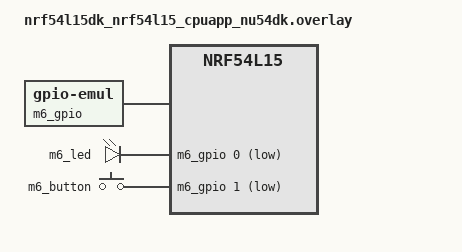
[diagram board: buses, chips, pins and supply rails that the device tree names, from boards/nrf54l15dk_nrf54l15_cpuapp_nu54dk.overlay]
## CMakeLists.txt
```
# SPDX-License-Identifier: MIT

cmake_minimum_required(VERSION 3.20.0)

find_package(Zephyr REQUIRED HINTS $ENV{ZEPHYR_BASE})
project(nucode_m6_core_api)

target_sources(app PRIVATE
  src/c_header_contract.c
  src/main.cpp
)
```

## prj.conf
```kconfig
CONFIG_ZTEST=y
CONFIG_CPP=y
CONFIG_STD_CPP17=y
CONFIG_CPP_EXCEPTIONS=n
CONFIG_CPP_RTTI=n

CONFIG_NUCODE_ARDUINO_CORE=y
CONFIG_NUCODE_ARDUINO_RUNTIME=n
CONFIG_NUCODE_ARDUINO_API=y
CONFIG_NUCODE_ARDUINO_GPIO=y
CONFIG_NUCODE_ARDUINO_INTERRUPTS=y
CONFIG_NUCODE_ARDUINO_TIME=y
CONFIG_NUCODE_ARDUINO_SERIAL=y
CONFIG_NUCODE_ARDUINO_SERIAL_RX_BUFFER_SIZE=128

CONFIG_EMUL=y
CONFIG_GPIO_EMUL=y
CONFIG_UART_EMUL=y
CONFIG_IRQ_OFFLOAD=y
CONFIG_COMMON_LIBC_MALLOC_ARENA_SIZE=8192
CONFIG_MAIN_STACK_SIZE=8192
CONFIG_TEST_EXTRA_STACK_SIZE=1024
```

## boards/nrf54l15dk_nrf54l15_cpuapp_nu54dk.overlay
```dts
/**
 * SPDX-License-Identifier: MIT
 */

/ {
	chosen {
		nucode,arduino-serial = &m6_uart;
	};

	aliases {
		led0 = &m6_led;
		sw0 = &m6_button;
	};

	m6_gpio: m6-gpio {
		compatible = "zephyr,gpio-emul";
		status = "okay";
		gpio-controller;
		#gpio-cells = <2>;
		ngpios = <2>;
		rising-edge;
		falling-edge;
	};

	m6-leds {
		compatible = "gpio-leds";

		m6_led: led-0 {
			gpios = <&m6_gpio 0 GPIO_ACTIVE_LOW>;
		};
	};

	m6-buttons {
		compatible = "gpio-keys";

		m6_button: button-0 {
			gpios = <&m6_gpio 1 (GPIO_ACTIVE_LOW | GPIO_PULL_UP)>;
		};
	};

	m6_uart: m6-uart {
		compatible = "zephyr,uart-emul";
		status = "okay";
		current-speed = <115200>;
		rx-fifo-size = <256>;
		tx-fifo-size = <256>;
	};
};
#include <nucode/nu54dk-arduino-pins.dtsi>
```

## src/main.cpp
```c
/**
 * @file main.cpp
 * @brief M6 공통 API, Serial과 GPIO interrupt 계약을 자동 검증합니다.
 *
 * SPDX-License-Identifier: MIT
 */

#include <Arduino.h>

#include <zephyr/device.h>
#include <zephyr/drivers/gpio/gpio_emul.h>
#include <zephyr/drivers/uart.h>
#include <zephyr/drivers/serial/uart_emul.h>
#include <zephyr/irq_offload.h>
#include <zephyr/kernel.h>
#include <zephyr/sys/atomic.h>
#include <zephyr/ztest.h>

#include <stdint.h>
#include <string.h>

#include "internal/SerialBackend.h"
#include "internal/pin_description.h"

extern "C" int nucode_m6_c_header_contract(void);

namespace
{
    using nucode::arduino::internal::clearSerialDiagnostics;
    using nucode::arduino::internal::GpioError;
    using nucode::arduino::internal::lastGpioError;
    using nucode::arduino::internal::lastSerialError;
    using nucode::arduino::internal::serialDroppedRxBytes;
    using nucode::arduino::internal::SerialError;

    template <typename Left, typename Right> inline constexpr bool same_type = false;

    template <typename Value> inline constexpr bool same_type<Value, Value> = true;

    static_assert(same_type<String, arduino::String>);
    static_assert(same_type<Print, arduino::Print>);
    static_assert(same_type<Stream, arduino::Stream>);
    static_assert(same_type<HardwareSerial, arduino::HardwareSerial>);

    /** @brief M6 GPIO emulator 장치입니다. */
    const struct device *const test_gpio = DEVICE_DT_GET(DT_NODELABEL(m6_gpio));

    /** @brief M6 Serial 전용 UART emulator 장치입니다. */
    const struct device *const test_uart = DEVICE_DT_GET(DT_NODELABEL(m6_uart));

    /** @brief Print 출력을 고정 배열에 수집합니다. */
    class CapturePrint final : public Print
    {
      public:
        using Print::write;

        /** @brief 한 byte를 수집합니다. */
        size_t write(uint8_t value) override
        {
            if (length_ >= (sizeof(data_) - 1U))
            {
                setWriteError();
                return 0U;
            }
            data_[length_++] = static_cast<char>(value);
            data_[length_] = '\0';
            return 1U;
        }

        /** @brief 수집한 C 문자열을 반환합니다. */
        const char *data() const noexcept
        {
            return data_;
        }

      private:
        char data_[256] = {};
        size_t length_ = 0U;
    };

    /** @brief 지정한 byte 수 뒤 실패하는 Print 구현입니다. */
    class PartialPrint final : public Print
    {
      public:
        using Print::write;

        /** @brief 성공시킬 최대 byte 수를 지정합니다. */
        explicit PartialPrint(size_t limit) : limit_(limit)
        {
        }

        /** @brief 한 byte를 한도 안에서만 수락합니다. */
        size_t write(uint8_t value) override
        {
            ARG_UNUSED(value);
            if (written_ >= limit_)
            {
                setWriteError();
                return 0U;
            }

            ++written_;
            return 1U;
        }

      private:
        size_t limit_;
        size_t written_ = 0U;
    };

    /** @brief Printable 객체가 Print에 위임하는 byte 수와 호출 횟수를 기록합니다. */
    class PrintableToken final : public Printable
    {
      public:
        /** @brief 고정 문자열과 숫자를 전달받은 Print 구현에 기록합니다. */
        size_t printTo(Print &output) const override
        {
            ++invocation_count_;
            size_t written = output.print("NU54:");
            written += output.print(42U, HEX);
            return written;
        }

        /** @brief printTo가 호출된 누적 횟수를 반환합니다. */
        unsigned int invocationCount() const noexcept
        {
            return invocation_count_;
        }

      private:
        mutable unsigned int invocation_count_ = 0U;
    };

    /** @brief Stream 입력과 출력을 고정 배열로 모사합니다. */
    class MemoryStream final : public Stream
    {
      public:
        using Print::write;

        /** @brief 시험 입력 문자열을 선택합니다. */
        explicit MemoryStream(const char *input) : input_(input), length_(strlen(input))
        {
        }

        /** @brief 남은 입력 byte 수를 반환합니다. */
        int available() override
        {
            return static_cast<int>(length_ - cursor_);
        }

        /** @brief 다음 byte를 소비합니다. */
        int read() override
        {
            return (cursor_ < length_) ? static_cast<unsigned char>(input_[cursor_++]) : -1;
        }

        /** @brief 다음 byte를 소비하지 않고 반환합니다. */
        int peek() override
        {
            return (cursor_ < length_) ? static_cast<unsigned char>(input_[cursor_]) : -1;
        }

        /** @brief 시험 Stream에는 비동기 출력이 없으므로 아무 작업도 하지 않습니다. */
        void flush() override
        {
        }

        /** @brief 한 출력 byte를 버리고 성공을 반환합니다. */
        size_t write(uint8_t value) override
        {
            ARG_UNUSED(value);
            return 1U;
        }

      private:
        const char *input_;
        size_t length_;
        size_t cursor_ = 0U;
    };

    atomic_t simple_interrupt_count;
    atomic_t parameter_interrupt_count;
    atomic_t sentinel_uart_irq_count;
    volatile size_t isr_serial_write_result;

    /** @brief 단순 GPIO callback 실행 횟수를 증가시킵니다. */
    void simpleInterruptCallback()
    {
        atomic_inc(&simple_interrupt_count);
    }

    /** @brief 매개변수 GPIO callback 실행 횟수를 증가시킵니다. */
    void parameterInterruptCallback(void *parameter)
    {
        auto *counter = static_cast<atomic_t *>(parameter);
        atomic_inc(counter);
    }

    /** @brief 미시작 end() 보존 시험용 UART callback입니다. */
    void sentinelUartCallback(const struct device *device, void *user_data)
    {
        ARG_UNUSED(user_data);
        static_cast<void>(uart_irq_update(device));
        if (uart_irq_rx_ready(device) != 0)
        {
            uint8_t value = 0U;
            static_cast<void>(uart_fifo_read(device, &value, 1));
            atomic_inc(&sentinel_uart_irq_count);
        }
    }

    /** @brief IRQ 문맥에서 금지된 Serial write를 호출합니다. */
    void serialWriteFromIsr(const void *parameter)
    {
        ARG_UNUSED(parameter);
        isr_serial_write_result = Serial.write(static_cast<uint8_t>('X'));
    }

    /** @brief UART emulator RX가 Serial queue로 이동할 때까지 기다립니다. */
    bool waitForSerialBytes(int expected)
    {
        for (int attempt = 0; attempt < 100; ++attempt)
        {
            if (Serial.available() >= expected)
            {
                return true;
            }
            k_sleep(K_MSEC(1));
        }
        return false;
    }

    /** @brief 각 Serial 시험 전에 backend와 UART emulator를 초기화합니다. */
    void serialBefore(void *)
    {
        Serial.end();
        clearSerialDiagnostics();
        uart_emul_flush_rx_data(test_uart);
        uart_emul_flush_tx_data(test_uart);

        /**
		 * 실제 production Serial은 Zephyr 소유 UART를 재구성하지 않습니다.
		 * DTS 속성을 runtime 설정에 반영하지 않는 시험용 UART emulator에만
		 * Zephyr가 이미 적용한 것으로 간주할 115200 8N1 상태를 준비합니다.
		 */
        const struct uart_config config = {
            .baudrate = 115200U,
            .parity = UART_CFG_PARITY_NONE,
            .stop_bits = UART_CFG_STOP_BITS_1,
            .data_bits = UART_CFG_DATA_BITS_8,
            .flow_ctrl = UART_CFG_FLOW_CTRL_NONE,
        };
        zassert_ok(uart_configure(test_uart, &config),
                   "UART emulator의 Zephyr 소유 설정 적용에 실패했습니다.");
    }

} // namespace

ZTEST(m6_common, test_c_and_cpp_common_contract)
{
    zassert_equal(nucode_m6_c_header_contract(), 1, "Arduino.h C 계약이 깨졌습니다.");
    zassert_equal(map(25L, 0L, 100L, -100L, 100L), -50L, "map 결과가 다릅니다.");
    zassert_equal(makeWord(0x12U, 0x34U), 0x1234U, "makeWord 결과가 다릅니다.");

    pin_size_t pin = 0U;
    zassert_equal(digitalPinToInterrupt(pin++), 0U, "유효한 interrupt 매핑이 다릅니다.");
    zassert_equal(pin, 1U, "C++ interrupt 매핑이 인수를 두 번 평가했습니다.");
    zassert_equal(digitalPinToInterrupt(NUM_DIGITAL_PINS), NOT_AN_INTERRUPT,
                  "범위 밖 interrupt가 거부되지 않았습니다.");
}

ZTEST(m6_common, test_string_construction_and_conversion)
{
    String value("NU54");
    value += "DK";
    zassert_equal(strcmp(value.c_str(), "NU54DK"), 0, "String 연결 결과가 다릅니다.");

    String hexadecimal(255, HEX);
    zassert_equal(strcmp(hexadecimal.c_str(), "ff"), 0, "String 16진 변환이 다릅니다.");

    String floating(3.25, 2U);
    zassert_equal(strcmp(floating.c_str(), "3.25"), 0, "String 실수 변환이 다릅니다.");

    String bounded("stable");
    zassert_true(bounded.reserve(1024U), "String의 정상 heap 예약에 실패했습니다.");
    zassert_false(bounded.reserve(16384U), "String이 구성한 heap 경계를 넘어 예약했습니다.");
    zassert_equal(strcmp(bounded.c_str(), "stable"), 0,
                  "실패한 String 예약이 기존 내용을 손상했습니다.");
}

ZTEST(m6_common, test_print_and_stream_contract)
{
    CapturePrint output;
    zassert_equal(output.write("value="), 6U, "Print 문자열 write가 숨겨졌습니다.");
    output.println(255, HEX);
    zassert_equal(strcmp(output.data(), "value=FF\r\n"), 0, "Print 형식 출력이 다릅니다.");

    PartialPrint partial(3U);
    const uint8_t partial_input[] = {'A', 'B', 'C', 'D', 'E'};
    zassert_equal(partial.write(partial_input, sizeof(partial_input)), 3U,
                  "Print가 부분 write 지점에서 멈추지 않았습니다.");
    zassert_not_equal(partial.getWriteError(), 0, "Print 부분 write 오류가 기록되지 않았습니다.");

    MemoryStream stream("noise:-123,45.5!");
    stream.setTimeout(2U);
    zassert_equal(stream.parseInt(), -123L, "Stream 정수 parsing이 다릅니다.");
    zassert_within(stream.parseFloat(), 45.5F, 0.01F, "Stream 실수 parsing이 다릅니다.");

    MemoryStream searchable("prefix-token");
    searchable.setTimeout(2U);
    zassert_true(searchable.find("token"), "Stream find가 token을 찾지 못했습니다.");

    MemoryStream empty("");
    empty.setTimeout(2U);
    const unsigned long timeout_start = millis();
    zassert_false(empty.find("never"), "빈 Stream이 존재하지 않는 token을 찾았습니다.");
    const unsigned long timeout_elapsed = millis() - timeout_start;
    zassert_true(timeout_elapsed >= 2U, "Stream timeout이 요청한 시간보다 일찍 끝났습니다.");
    zassert_true(timeout_elapsed < 100U, "Stream timeout이 비정상적으로 오래 걸렸습니다.");
}

ZTEST(m6_common, test_printable_dispatch_and_count_contract)
{
    PrintableToken token;
    CapturePrint printed;
    zassert_equal(printed.print(token), 7U,
                  "Print::print가 Printable의 기록 byte 수를 반환하지 않았습니다.");
    zassert_equal(strcmp(printed.data(), "NU54:2A"), 0,
                  "Printable이 Print 구현에 기대한 내용을 기록하지 않았습니다.");
    zassert_equal(token.invocationCount(), 1U,
                  "Print::print가 Printable::printTo를 한 번만 호출하지 않았습니다.");

    CapturePrint line;
    zassert_equal(line.println(token), 9U,
                  "Print::println이 Printable 출력과 CRLF byte 수를 합산하지 않았습니다.");
    zassert_equal(strcmp(line.data(), "NU54:2A\r\n"), 0,
                  "Print::println이 Printable 출력 뒤 CRLF를 추가하지 않았습니다.");
    zassert_equal(token.invocationCount(), 2U,
                  "Print::println의 Printable dispatch 횟수가 다릅니다.");
}

ZTEST(m6_serial, test_begin_tx_and_non_destructive_rebegin)
{
    Serial.begin(9600U);
    zassert_equal(lastSerialError(), SerialError::unsupported_config,
                  "DTS와 다른 속도가 거부되지 않았습니다.");
    zassert_false(static_cast<bool>(Serial), "잘못된 begin 뒤 Serial이 시작되었습니다.");

    Serial.begin(115200U, SERIAL_8N1);
    zassert_true(static_cast<bool>(Serial), "유효한 Serial begin에 실패했습니다.");
    zassert_equal(Serial.write("M6"), 2U, "Serial.write 문자열 overload가 동작하지 않습니다.");
    Serial.println(" OK");

    uint8_t transmitted[16] = {};
    const size_t transmitted_size =
        uart_emul_get_tx_data(test_uart, transmitted, sizeof(transmitted));
    zassert_equal(transmitted_size, 7U, "Serial TX 길이가 다릅니다.");
    zassert_mem_equal(transmitted, "M6 OK\r\n", 7U, "Serial TX 내용이 다릅니다.");

    Serial.begin(9600U);
    zassert_equal(lastSerialError(), SerialError::unsupported_config,
                  "재-begin 오류가 기록되지 않았습니다.");
    zassert_true(static_cast<bool>(Serial), "잘못된 재-begin이 기존 세션을 중단했습니다.");
    zassert_equal(Serial.write(static_cast<uint8_t>('!')), 1U,
                  "재-begin 오류 뒤 기존 TX 세션이 유지되지 않았습니다.");
}

ZTEST(m6_serial, test_rx_peek_read_and_overflow)
{
    Serial.begin(115200U);
    const uint8_t received[] = {'A', 'B', 'C'};
    zassert_equal(uart_emul_put_rx_data(test_uart, received, sizeof(received)), sizeof(received),
                  "UART RX 주입에 실패했습니다.");
    zassert_true(waitForSerialBytes(3), "Serial RX queue가 채워지지 않았습니다.");
    zassert_equal(Serial.peek(), 'A', "Serial.peek 결과가 다릅니다.");
    zassert_equal(Serial.read(), 'A', "Serial.read 첫 byte가 다릅니다.");
    zassert_equal(Serial.read(), 'B', "Serial.read 두 번째 byte가 다릅니다.");
    zassert_equal(Serial.read(), 'C', "Serial.read 세 번째 byte가 다릅니다.");

    uint8_t overflow_data[160] = {};
    for (size_t index = 0U; index < sizeof(overflow_data); ++index)
    {
        overflow_data[index] = static_cast<uint8_t>(index);
    }
    zassert_equal(uart_emul_put_rx_data(test_uart, overflow_data, sizeof(overflow_data)),
                  sizeof(overflow_data), "overflow RX 주입에 실패했습니다.");
    zassert_true(waitForSerialBytes(128), "고정 Serial RX queue가 채워지지 않았습니다.");
    zassert_equal(Serial.available(), 128, "Serial RX queue 경계가 다릅니다.");
    zassert_equal(serialDroppedRxBytes(), 32U, "overflow drop 누적값이 다릅니다.");
    zassert_equal(Serial.read(), 0, "drop-newest 정책이 유지되지 않았습니다.");
}

ZTEST(m6_serial, test_started_end_stops_session_and_purges_rx)
{
    Serial.begin(115200U);
    const uint8_t received[] = {'E', 'N', 'D'};
    zassert_equal(uart_emul_put_rx_data(test_uart, received, sizeof(received)), sizeof(received),
                  "end 시험용 UART RX 주입에 실패했습니다.");
    zassert_true(waitForSerialBytes(3), "end 시험 전에 Serial RX queue가 채워지지 않았습니다.");

    Serial.end();
    zassert_false(static_cast<bool>(Serial), "end 뒤 Serial 세션이 계속 활성 상태입니다.");
    zassert_equal(Serial.available(), 0, "end 뒤 RX queue가 비워지지 않았습니다.");
    zassert_equal(lastSerialError(), SerialError::not_started,
                  "end 뒤 접근이 미시작 상태로 진단되지 않았습니다.");
}

ZTEST(m6_serial, test_end_without_session_preserves_existing_callback)
{
    atomic_clear(&sentinel_uart_irq_count);
    zassert_ok(uart_irq_callback_user_data_set(test_uart, sentinelUartCallback, nullptr),
               "시험 UART callback 등록에 실패했습니다.");
    uart_irq_rx_enable(test_uart);

    Serial.end();
    const uint8_t received = 'S';
    zassert_equal(uart_emul_put_rx_data(test_uart, &received, 1U), 1U,
                  "sentinel RX 주입에 실패했습니다.");
    for (int attempt = 0; (attempt < 100) && (atomic_get(&sentinel_uart_irq_count) == 0); ++attempt)
    {
        k_sleep(K_MSEC(1));
    }
    zassert_true(atomic_get(&sentinel_uart_irq_count) >= 1,
                 "미시작 end가 기존 UART callback을 제거했습니다.");

    uart_irq_rx_disable(test_uart);
    zassert_ok(uart_irq_callback_user_data_set(test_uart, nullptr, nullptr),
               "시험 UART callback 해제에 실패했습니다.");
}

ZTEST(m6_serial, test_isr_restriction)
{
    Serial.begin(115200U);
    isr_serial_write_result = 1U;
    irq_offload(serialWriteFromIsr, nullptr);
    zassert_equal(isr_serial_write_result, 0U, "ISR Serial.write가 거부되지 않았습니다.");
    zassert_equal(lastSerialError(), SerialError::invalid_context,
                  "ISR 문맥 오류가 기록되지 않았습니다.");
}

ZTEST(m6_interrupt, test_raw_edges_parameter_and_detach)
{
    atomic_clear(&simple_interrupt_count);
    atomic_clear(&parameter_interrupt_count);
    pinMode(PIN_BUTTON0, INPUT_PULLUP);
    zassert_ok(gpio_emul_input_set(test_gpio, 1U, 1), "button 초기 입력 설정에 실패했습니다.");

    attachInterrupt(digitalPinToInterrupt(PIN_BUTTON0), simpleInterruptCallback, FALLING);
    zassert_equal(lastGpioError(), GpioError::none, "FALLING callback 등록에 실패했습니다.");
    zassert_ok(gpio_emul_input_set(test_gpio, 1U, 0), "FALLING 입력 주입에 실패했습니다.");
    zassert_equal(atomic_get(&simple_interrupt_count), 1, "raw FALLING callback 횟수가 다릅니다.");
    zassert_ok(gpio_emul_input_set(test_gpio, 1U, 1), "RISING 입력 복구에 실패했습니다.");
    zassert_equal(atomic_get(&simple_interrupt_count), 1, "FALLING이 RISING에도 실행되었습니다.");

    attachInterrupt(digitalPinToInterrupt(PIN_BUTTON0), simpleInterruptCallback, RISING);
    zassert_ok(gpio_emul_input_set(test_gpio, 1U, 0), "RISING 시험용 LOW 설정에 실패했습니다.");
    zassert_equal(atomic_get(&simple_interrupt_count), 1, "RISING이 FALLING에도 실행되었습니다.");
    zassert_ok(gpio_emul_input_set(test_gpio, 1U, 1), "RISING 입력 주입에 실패했습니다.");
    zassert_equal(atomic_get(&simple_interrupt_count), 2, "raw RISING callback 횟수가 다릅니다.");

    attachInterruptParam(digitalPinToInterrupt(PIN_BUTTON0), parameterInterruptCallback, CHANGE,
                         &parameter_interrupt_count);
    zassert_ok(gpio_emul_input_set(test_gpio, 1U, 0), "CHANGE 하강 입력에 실패했습니다.");
    zassert_ok(gpio_emul_input_set(test_gpio, 1U, 1), "CHANGE 상승 입력에 실패했습니다.");
    zassert_equal(atomic_get(&parameter_interrupt_count), 2,
                  "매개변수 CHANGE callback 횟수가 다릅니다.");

    detachInterrupt(digitalPinToInterrupt(PIN_BUTTON0));
    zassert_ok(gpio_emul_input_set(test_gpio, 1U, 0), "detach 후 입력 주입에 실패했습니다.");
    zassert_equal(atomic_get(&parameter_interrupt_count), 2,
                  "detach 후 callback이 실행되었습니다.");
}

ZTEST(m6_interrupt, test_validation_and_pinmode_auto_detach)
{
    attachInterrupt(NOT_AN_INTERRUPT, simpleInterruptCallback, RISING);
    zassert_equal(lastGpioError(), GpioError::invalid_pin,
                  "범위 밖 interrupt 번호가 거부되지 않았습니다.");
    detachInterrupt(NOT_AN_INTERRUPT);
    zassert_equal(lastGpioError(), GpioError::invalid_pin,
                  "범위 밖 detach 번호가 거부되지 않았습니다.");

    attachInterrupt(digitalPinToInterrupt(LED_BUILTIN), simpleInterruptCallback, RISING);
    zassert_equal(lastGpioError(), GpioError::interrupt_not_configured,
                  "미설정 input interrupt가 거부되지 않았습니다.");

    pinMode(LED_BUILTIN, INPUT_PULLUP);
    attachInterrupt(digitalPinToInterrupt(LED_BUILTIN), nullptr, RISING);
    zassert_equal(lastGpioError(), GpioError::null_callback,
                  "null callback이 거부되지 않았습니다.");
    attachInterrupt(digitalPinToInterrupt(LED_BUILTIN), simpleInterruptCallback, HIGH);
    zassert_equal(lastGpioError(), GpioError::invalid_interrupt_mode,
                  "미지원 interrupt mode가 거부되지 않았습니다.");

    atomic_clear(&simple_interrupt_count);
    zassert_ok(gpio_emul_input_set(test_gpio, 0U, 0), "초기 LOW 설정에 실패했습니다.");
    attachInterrupt(digitalPinToInterrupt(LED_BUILTIN), simpleInterruptCallback, RISING);
    pinMode(LED_BUILTIN, INPUT_PULLUP);
    zassert_ok(gpio_emul_input_set(test_gpio, 0U, 1), "pinMode 후 RISING 입력에 실패했습니다.");
    zassert_equal(atomic_get(&simple_interrupt_count), 0,
                  "pinMode 변경 뒤 이전 callback이 남았습니다.");
}

ZTEST_SUITE(m6_common, nullptr, nullptr, nullptr, nullptr, nullptr);
ZTEST_SUITE(m6_serial, nullptr, nullptr, serialBefore, nullptr, nullptr);
ZTEST_SUITE(m6_interrupt, nullptr, nullptr, nullptr, nullptr, nullptr);
```

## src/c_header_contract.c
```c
/**
 * @file c_header_contract.c
 * @brief Arduino.h의 C 언어 공개 계약을 컴파일로 검증합니다.
 *
 * SPDX-License-Identifier: MIT
 */

#include <Arduino.h>

/**
 * @brief C 호출부에서 Common 함수와 interrupt 매핑을 사용합니다.
 *
 * @return 계약을 유지하면 1을 반환합니다.
 */
int nucode_m6_c_header_contract(void)
{
    pin_size_t pin = 0U;
    const pin_size_t interrupt_number = digitalPinToInterrupt(pin++);
    return (interrupt_number == 0U) && (pin == 1U) && (lowByte(0x1234U) == 0x34U) &&
           (highByte(0x1234U) == 0x12U);
}
```
